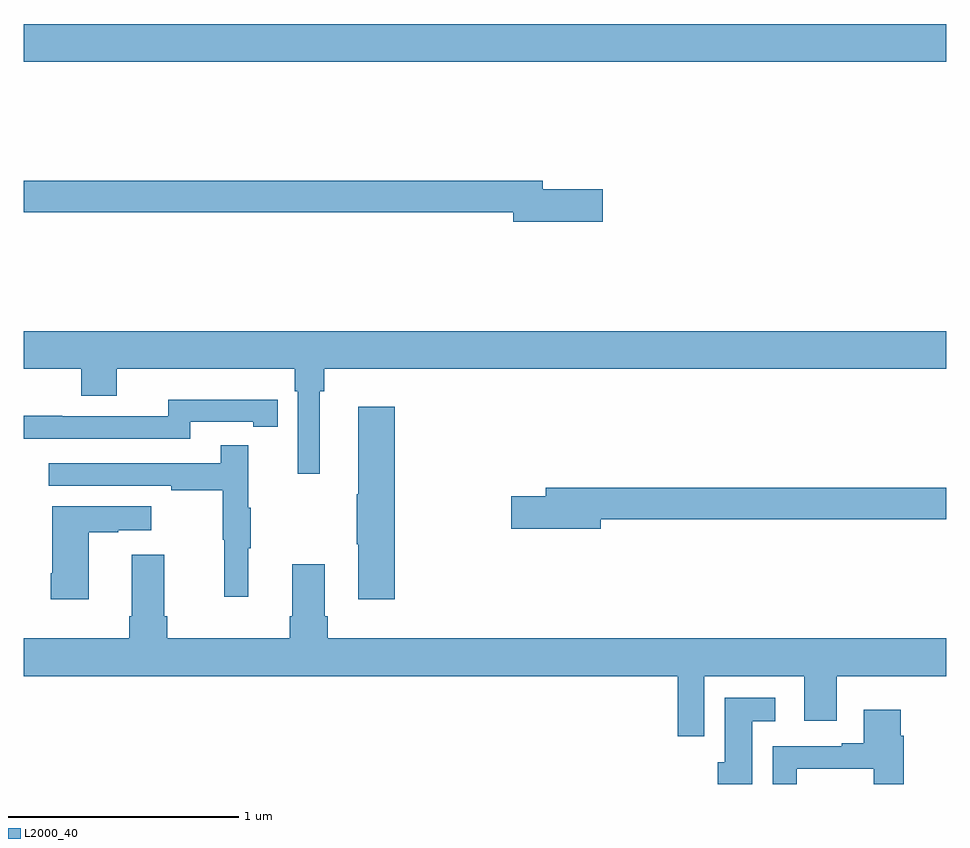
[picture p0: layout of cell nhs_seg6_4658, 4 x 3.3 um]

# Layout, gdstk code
import gdstk
lib = gdstk.Library(unit=1e-6, precision=1e-09)
def R(c, l, rs):  # rectangles x0, y0, x1, y1
    for r in rs: c.add(gdstk.rectangle(r[:2], r[2:], *l))
def P(c, l, *ps):  # polygons
    for p in ps: c.add(gdstk.Polygon(p, *l))
L2000_40 = (2000, 40)

nhs_seg6_4658 = lib.new_cell('nhs_seg6_4658')
R(nhs_seg6_4658, L2000_40, [(385,984.632,389,984.796)])
P(nhs_seg6_4658, L2000_40, [(387.511,984.08),(387.25,984.08),(387.25,984.116),(385,984.116),(385,983.98),(387.122,983.98),(387.122,983.938),(387.511,983.938)],
  [(386.284,983.204),(386.303,983.204),(386.303,983.3),(389,983.3),(389,983.464),(385,983.464),(385,983.3),(385.25,983.3),(385.25,983.183),(385.402,983.183),(385.402,983.3),(386.174,983.3),(386.174,983.204),(386.187,983.204),(386.187,982.845),(386.284,982.845)],
  [(385.722,983.07),(385.994,983.07),(385.994,983.05),(386.102,983.05),(386.102,983.166),(385.994,983.166),(385.994,983.167),(385.626,983.167),(385.626,983.094),(385.166,983.094),(385.166,983.096),(385,983.096),(385,982.998),(385.722,982.998)],
  [(386.609,983.137),(386.45,983.137),(386.45,982.757),(386.443,982.757),(386.443,982.54),(386.45,982.54),(386.45,982.302),(386.609,982.302)],
  [(385.973,982.523),(385.984,982.523),(385.984,982.697),(385.973,982.697),(385.973,982.969),(385.855,982.969),(385.855,982.89),(385.107,982.89),(385.107,982.794),(385.639,982.794),(385.639,982.774),(385.863,982.774),(385.863,982.56),(385.87,982.56),(385.87,982.311),(385.973,982.311)],
  [(387.502,982.648),(389,982.648),(389,982.784),(387.263,982.784),(387.263,982.748),(387.114,982.748),(387.114,982.606),(387.502,982.606)],
  [(385.282,982.591),(385.409,982.591),(385.409,982.601),(385.552,982.601),(385.552,982.705),(385.124,982.705),(385.124,982.414),(385.117,982.414),(385.117,982.302),(385.282,982.302)],
  [(387.835,981.708),(387.951,981.708),(387.951,981.968),(388.385,981.968),(388.385,981.774),(388.525,981.774),(388.525,981.968),(389,981.968),(389,982.132),(386.318,982.132),(386.318,982.228),(386.305,982.228),(386.305,982.453),(386.165,982.453),(386.165,982.228),(386.153,982.228),(386.153,982.132),(385.622,982.132),(385.622,982.228),(385.609,982.228),(385.609,982.495),(385.469,982.495),(385.469,982.228),(385.457,982.228),(385.457,982.132),(385,982.132),(385,981.968),(387.835,981.968)],
  [(388.159,981.773),(388.258,981.773),(388.258,981.874),(388.04,981.874),(388.04,981.594),(388.01,981.594),(388.01,981.5),(388.159,981.5)],
  [(388.351,981.567),(388.685,981.567),(388.685,981.5),(388.817,981.5),(388.817,981.71),(388.804,981.71),(388.804,981.823),(388.643,981.823),(388.643,981.676),(388.547,981.676),(388.547,981.663),(388.248,981.663),(388.248,981.5),(388.351,981.5)])

lib.write_gds('nhs_seg6_4658.gds')
